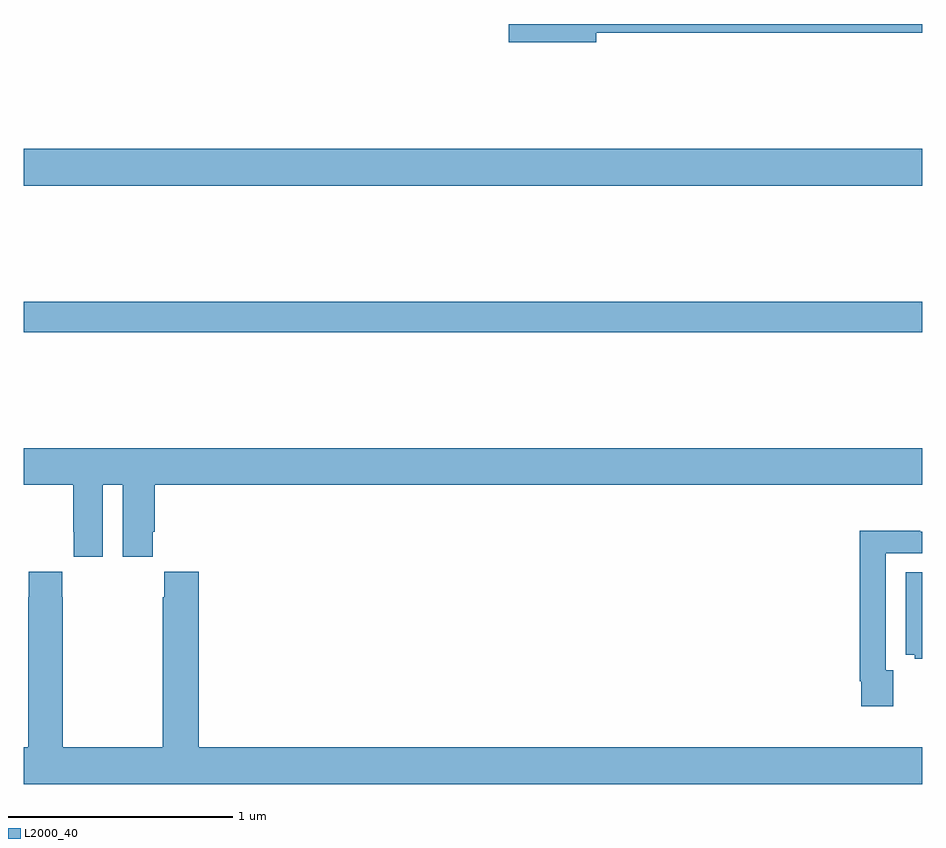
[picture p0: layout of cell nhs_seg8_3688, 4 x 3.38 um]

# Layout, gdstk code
import gdstk
lib = gdstk.Library(unit=1e-6, precision=1e-09)
def R(c, l, rs):  # rectangles x0, y0, x1, y1
    for r in rs: c.add(gdstk.rectangle(r[:2], r[2:], *l))
def P(c, l, *ps):  # polygons
    for p in ps: c.add(gdstk.Polygon(p, *l))
L2000_40 = (2000, 40)

nhs_seg8_3688 = lib.new_cell('nhs_seg8_3688')
R(nhs_seg8_3688, L2000_40, [(339,1102.528,343,1102.664), (339,1103.18,343,1103.344)])
P(nhs_seg8_3688, L2000_40, [(341.548,1103.86),(343,1103.86),(343,1103.9),(341.16,1103.9),(341.16,1103.818),(341.548,1103.818)],
  [(339.352,1101.848),(339.44,1101.848),(339.44,1101.528),(339.574,1101.528),(339.574,1101.64),(339.584,1101.64),(339.584,1101.848),(343,1101.848),(343,1102.012),(339,1102.012),(339,1101.848),(339.221,1101.848),(339.221,1101.64),(339.222,1101.64),(339.222,1101.528),(339.352,1101.528)],
  [(342.871,1101.023),(342.837,1101.023),(342.837,1101.543),(343,1101.543),(343,1101.639),(342.991,1101.639),(342.991,1101.643),(342.721,1101.643),(342.721,1100.974),(342.729,1100.974),(342.729,1100.862),(342.871,1100.862)],
  [(343,1100.68),(339.779,1100.68),(339.779,1101.46),(339.625,1101.46),(339.625,1101.347),(339.619,1101.347),(339.619,1100.68),(339.174,1100.68),(339.174,1101.347),(339.171,1101.347),(339.171,1101.46),(339.021,1101.46),(339.021,1101.347),(339.019,1101.347),(339.019,1100.68),(339,1100.68),(339,1100.516),(343,1100.516)],
  [(343,1101.458),(342.926,1101.458),(342.926,1101.092),(342.966,1101.092),(342.966,1101.074),(343,1101.074)])

lib.write_gds('nhs_seg8_3688.gds')
